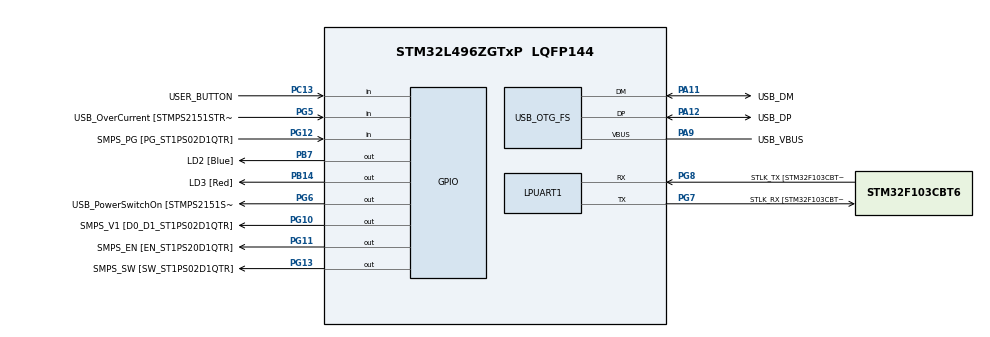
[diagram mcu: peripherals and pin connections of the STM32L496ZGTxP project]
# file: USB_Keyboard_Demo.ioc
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Mcu.Family=STM32L4
Mcu.Name=STM32L496ZGTxP
Mcu.Package=LQFP144
NVIC.OTG_FS_IRQn=true\:0\:0\:false\:false\:true\:true\:true\:true
NVIC.PriorityGroup=NVIC_PRIORITYGROUP_4
PA10.GPIO_Label=USB_ID
PA10.Signal=USB_OTG_FS_ID
PA11.GPIO_Label=USB_DM
PA11.Mode=Device_Only
PA11.Signal=USB_OTG_FS_DM
PA12.GPIO_Label=USB_DP
PA12.Mode=Device_Only
PA12.Signal=USB_OTG_FS_DP
PA13\ (JTMS/SWDIO).GPIO_Label=TMS
PA13\ (JTMS/SWDIO).Mode=Trace_Asynchronous_SW
PA13\ (JTMS/SWDIO).Signal=SYS_JTMS-SWDIO
PA14\ (JTCK/SWCLK).GPIO_Label=TCK
PA14\ (JTCK/SWCLK).Mode=Trace_Asynchronous_SW
PA14\ (JTCK/SWCLK).Signal=SYS_JTCK-SWCLK
PA8.GPIO_Label=USB_SOF [TP1]
PA8.Signal=USB_OTG_FS_SOF
PA9.GPIO_Label=USB_VBUS
PA9.Mode=Activate_VBUS
PA9.Signal=USB_OTG_FS_VBUS
PB14.GPIO_Label=LD3 [Red]
PB14.Signal=GPIO_Output
PB3\ (JTDO/TRACESWO).GPIO_Label=SWO
PB3\ (JTDO/TRACESWO).Mode=Trace_Asynchronous_SW
PB3\ (JTDO/TRACESWO).Signal=SYS_JTDO-SWO
PB7.GPIO_Label=LD2 [Blue]
PB7.Signal=GPIO_Output
PC13.GPIO_Label=USER_BUTTON
PC13.GPIO_PuPd=GPIO_PULLDOWN
PC13.Signal=GPIO_Input
PC14-OSC32_IN\ (PC14).Mode=LSE-External-Oscillator
PC14-OSC32_IN\ (PC14).Signal=RCC_OSC32_IN
PC15-OSC32_OUT\ (PC15).Mode=LSE-External-Oscillator
PC15-OSC32_OUT\ (PC15).Signal=RCC_OSC32_OUT
PG10.GPIO_Label=SMPS_V1 [D0_D1_ST1PS02D1QTR]
PG10.Signal=GPIO_Output
PG11.GPIO_Label=SMPS_EN [EN_ST1PS20D1QTR]
PG11.Signal=GPIO_Output
PG12.GPIO_Label=SMPS_PG [PG_ST1PS02D1QTR]
PG12.Signal=GPIO_Input
PG13.GPIO_Label=SMPS_SW [SW_ST1PS02D1QTR]
PG13.Signal=GPIO_Output
PG5.GPIO_Label=USB_OverCurrent [STMPS2151STR_FAULT]
PG5.Signal=GPIO_Input
PG6.GPIO_Label=USB_PowerSwitchOn [STMPS2151STR_EN]
PG6.Signal=GPIO_Output
PG7.GPIO_Label=STLK_RX [STM32F103CBT6_PA3]
PG7.Mode=Asynchronous
PG7.Signal=LPUART1_TX
PG8.GPIO_Label=STLK_TX [STM32F103CBT6_PA2]
PG8.Mode=Asynchronous
PG8.Signal=LPUART1_RX
PH0-OSC_IN\ (PH0).GPIO_Label=MCO
PH0-OSC_IN\ (PH0).Signal=RCC_OSC_IN
PH1-OSC_OUT\ (PH1).Signal=RCC_OSC_OUT
ProjectManager.HeapSize=0x200
ProjectManager.StackSize=0x400
ProjectManager.TargetToolchain=CMake
RCC.APB1TimFreq_Value=7100000
RCC.CK48CLockSelection=RCC_USBCLKSOURCE_HSI48
RCC.SYSCLKSource=RCC_SYSCLKSOURCE_PLLCLK
USB_DEVICE.CLASS_NAME_FS=HID
USB_DEVICE.VirtualMode=Hid
USB_DEVICE.VirtualModeFS=Hid_FS
USB_OTG_FS.VirtualMode=Device_Only
VP_RCC_USB.Mode=CRS SYNC Source USB
VP_USB_DEVICE_VS_USB_DEVICE_HID_FS.Mode=HID_FS
board=NUCLEO-L496ZG-P

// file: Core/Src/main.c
/* USER CODE BEGIN Header */
/**
  ******************************************************************************
  * @file           : main.c
  * @brief          : Main program body
  ******************************************************************************
  * @attention
  *
  * Copyright (c) 2026 STMicroelectronics.
  * All rights reserved.
  *
  * This software is licensed under terms that can be found in the LICENSE file
  * in the root directory of this software component.
  * If no LICENSE file comes with this software, it is provided AS-IS.
  *
  ******************************************************************************
  */
/* USER CODE END Header */
#include "main.h"
#include "usb_device.h"

/* USER CODE BEGIN Includes */
#include "usbd_hid.h"
#include <string.h>
/* USER CODE END Includes */

/* USER CODE BEGIN PD */
/* USB HID keyboard usage ID for the character 'a' (see HID Usage Tables) */
#define KEY_A  0x04U
/* USER CODE END PD */

UART_HandleTypeDef hlpuart1;

/* USER CODE BEGIN PV */
extern USBD_HandleTypeDef hUsbDeviceFS;
/* USER CODE END PV */

void SystemClock_Config(void);
static void MX_GPIO_Init(void);
static void MX_LPUART1_UART_Init(void);

/* USER CODE BEGIN 0 */

/**
  * @brief  Send a single HID keyboard keypress (press + release) report.
  * @param  keycode: USB HID keyboard usage ID of the key to send.
  * @retval None
  */
static void SendKeyPress(uint8_t keycode)
{
  uint8_t report[8] = {0};

  /* Byte 0: modifier keys, Byte 1: reserved, Bytes 2-7: up to 6 keycodes */
  report[2] = keycode;
  USBD_HID_SendReport(&hUsbDeviceFS, report, sizeof(report));

  HAL_Delay(10);

  /* Send an all-zero report to release the key */
  memset(report, 0, sizeof(report));
  USBD_HID_SendReport(&hUsbDeviceFS, report, sizeof(report));
}

/* USER CODE END 0 */

int main(void)
{

  /* MCU Configuration--------------------------------------------------------*/

  /* Reset of all peripherals, Initializes the Flash interface and the Systick. */
  HAL_Init();

  /* Configure the system clock */
  SystemClock_Config();

  /* Initialize all configured peripherals */
  MX_GPIO_Init();
  MX_LPUART1_UART_Init();
  MX_USB_DEVICE_Init();

  /* Infinite loop */
  while (1)
  {

    /* USER CODE BEGIN 3 */
    if (HAL_GPIO_ReadPin(USER_BUTTON_GPIO_Port, USER_BUTTON_Pin) == GPIO_PIN_SET)
    {
      SendKeyPress(KEY_A);

      /* Wait for the button to be released before allowing another keypress,
         with a short debounce delay to filter out contact bounce. */
      while (HAL_GPIO_ReadPin(USER_BUTTON_GPIO_Port, USER_BUTTON_Pin) == GPIO_PIN_SET)
      {
      }
      HAL_Delay(50);
    }
  }
  /* USER CODE END 3 */
}

void SystemClock_Config(void)
{
  RCC_OscInitTypeDef RCC_OscInitStruct = {0};
  RCC_ClkInitTypeDef RCC_ClkInitStruct = {0};
  RCC_CRSInitTypeDef RCC_CRSInitStruct = {0};

  /** Configure the main internal regulator output voltage
  */
  if (HAL_PWREx_ControlVoltageScaling(PWR_REGULATOR_VOLTAGE_SCALE1) != HAL_OK)
  {
    Error_Handler();
  }

  /** Initializes the RCC Oscillators according to the specified parameters
  * in the RCC_OscInitTypeDef structure.
  */
  RCC_OscInitStruct.OscillatorType = RCC_OSCILLATORTYPE_HSI48|RCC_OSCILLATORTYPE_MSI;
  RCC_OscInitStruct.HSI48State = RCC_HSI48_ON;
  RCC_OscInitStruct.MSIState = RCC_MSI_ON;
  RCC_OscInitStruct.MSICalibrationValue = 0;
  RCC_OscInitStruct.MSIClockRange = RCC_MSIRANGE_6;
  RCC_OscInitStruct.PLL.PLLState = RCC_PLL_ON;
  RCC_OscInitStruct.PLL.PLLSource = RCC_PLLSOURCE_MSI;
  RCC_OscInitStruct.PLL.PLLM = 1;
  RCC_OscInitStruct.PLL.PLLN = 8;
  RCC_OscInitStruct.PLL.PLLP = RCC_PLLP_DIV2;
  RCC_OscInitStruct.PLL.PLLQ = RCC_PLLQ_DIV2;
  RCC_OscInitStruct.PLL.PLLR = RCC_PLLR_DIV2;
  if (HAL_RCC_OscConfig(&RCC_OscInitStruct) != HAL_OK)
  {
    Error_Handler();
  }

  /** Initializes the CPU, AHB and APB buses clocks
  */
  RCC_ClkInitStruct.ClockType = RCC_CLOCKTYPE_HCLK|RCC_CLOCKTYPE_SYSCLK
                              |RCC_CLOCKTYPE_PCLK1|RCC_CLOCKTYPE_PCLK2;
  RCC_ClkInitStruct.SYSCLKSource = RCC_SYSCLKSOURCE_PLLCLK;
  RCC_ClkInitStruct.AHBCLKDivider = RCC_SYSCLK_DIV1;
  RCC_ClkInitStruct.APB1CLKDivider = RCC_HCLK_DIV1;
  RCC_ClkInitStruct.APB2CLKDivider = RCC_HCLK_DIV1;

  if (HAL_RCC_ClockConfig(&RCC_ClkInitStruct, FLASH_LATENCY_0) != HAL_OK)
  {
    Error_Handler();
  }

  /** Enable the SYSCFG APB clock
  */
  __HAL_RCC_CRS_CLK_ENABLE();

  /** Configures CRS
  */
  RCC_CRSInitStruct.Prescaler = RCC_CRS_SYNC_DIV1;
  RCC_CRSInitStruct.Source = RCC_CRS_SYNC_SOURCE_USB;
  RCC_CRSInitStruct.Polarity = RCC_CRS_SYNC_POLARITY_RISING;
  RCC_CRSInitStruct.ReloadValue = __HAL_RCC_CRS_RELOADVALUE_CALCULATE(48000000,1000);
  RCC_CRSInitStruct.ErrorLimitValue = 34;
  RCC_CRSInitStruct.HSI48CalibrationValue = 32;

  HAL_RCCEx_CRSConfig(&RCC_CRSInitStruct);
}

static void MX_LPUART1_UART_Init(void)
{

  hlpuart1.Instance = LPUART1;
  hlpuart1.Init.BaudRate = 209700;
  hlpuart1.Init.WordLength = UART_WORDLENGTH_7B;
  hlpuart1.Init.StopBits = UART_STOPBITS_1;
  hlpuart1.Init.Parity = UART_PARITY_NONE;
  hlpuart1.Init.Mode = UART_MODE_TX_RX;
  hlpuart1.Init.HwFlowCtl = UART_HWCONTROL_NONE;
  hlpuart1.Init.OneBitSampling = UART_ONE_BIT_SAMPLE_DISABLE;
  hlpuart1.AdvancedInit.AdvFeatureInit = UART_ADVFEATURE_NO_INIT;
  if (HAL_UART_Init(&hlpuart1) != HAL_OK)
  {
    Error_Handler();
  }

}

static void MX_GPIO_Init(void)
{
  GPIO_InitTypeDef GPIO_InitStruct = {0};

  /* GPIO Ports Clock Enable */
  __HAL_RCC_GPIOC_CLK_ENABLE();
  __HAL_RCC_GPIOH_CLK_ENABLE();
  __HAL_RCC_GPIOB_CLK_ENABLE();
  __HAL_RCC_GPIOG_CLK_ENABLE();
  HAL_PWREx_EnableVddIO2();
  __HAL_RCC_GPIOA_CLK_ENABLE();

  /*Configure GPIO pin Output Level */
  HAL_GPIO_WritePin(GPIOB, LD3_Pin|LD2_Pin, GPIO_PIN_RESET);

  /*Configure GPIO pin Output Level */
  HAL_GPIO_WritePin(GPIOG, USB_PowerSwitchOn_Pin|SMPS_V1_Pin|SMPS_EN_Pin|SMPS_SW_Pin, GPIO_PIN_RESET);

  /*Configure GPIO pin : USER_BUTTON_Pin */
  GPIO_InitStruct.Pin = USER_BUTTON_Pin;
  GPIO_InitStruct.Mode = GPIO_MODE_INPUT;
  GPIO_InitStruct.Pull = GPIO_PULLDOWN;
  HAL_GPIO_Init(USER_BUTTON_GPIO_Port, &GPIO_InitStruct);

  /*Configure GPIO pins : LD3_Pin LD2_Pin */
  GPIO_InitStruct.Pin = LD3_Pin|LD2_Pin;
  GPIO_InitStruct.Mode = GPIO_MODE_OUTPUT_PP;
  GPIO_InitStruct.Pull = GPIO_NOPULL;
  GPIO_InitStruct.Speed = GPIO_SPEED_FREQ_LOW;
  HAL_GPIO_Init(GPIOB, &GPIO_InitStruct);

  /*Configure GPIO pins : USB_OverCurrent_Pin SMPS_PG_Pin */
  GPIO_InitStruct.Pin = USB_OverCurrent_Pin|SMPS_PG_Pin;
  GPIO_InitStruct.Mode = GPIO_MODE_INPUT;
  GPIO_InitStruct.Pull = GPIO_NOPULL;
  HAL_GPIO_Init(GPIOG, &GPIO_InitStruct);

  /*Configure GPIO pins : USB_PowerSwitchOn_Pin SMPS_V1_Pin SMPS_EN_Pin SMPS_SW_Pin */
  GPIO_InitStruct.Pin = USB_PowerSwitchOn_Pin|SMPS_V1_Pin|SMPS_EN_Pin|SMPS_SW_Pin;
  GPIO_InitStruct.Mode = GPIO_MODE_OUTPUT_PP;
  GPIO_InitStruct.Pull = GPIO_NOPULL;
  GPIO_InitStruct.Speed = GPIO_SPEED_FREQ_LOW;
  HAL_GPIO_Init(GPIOG, &GPIO_InitStruct);

}

void Error_Handler(void)
{
  __disable_irq();
  while (1)
  {
  }
}
